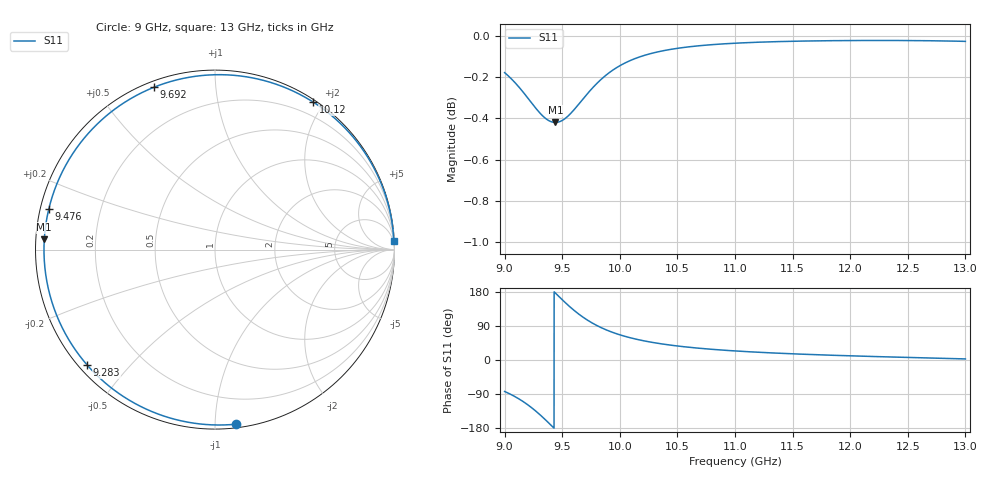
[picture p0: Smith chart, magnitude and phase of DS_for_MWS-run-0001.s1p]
! TOUCHSTONE file generated by CST DESIGN STUDIO
! Date and time: Tue Feb  4 14:09:21 2025
! Project name: C:\Work\MatlabApps\UnitCellOptimizationMatlab\CST\unitcell.cst
! Tree item: Tasks\Sweep1\SPara1\S-Parameters
! Header version: 2024
! Port assignment regex: !\s*Touchstone port\s*([0-9]+)\s*=\s*(CST MWS port|CST DES external port|CST DES block port)\s*(.+)\s* \(\"(.*)\"\)(\s*mode\s*([0-9]+))?.*
! Touchstone port assignment:
! Touchstone port 1 = CST DES external port 1 ("")
# GHz S MA R 50
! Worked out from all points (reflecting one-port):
!   4001 points, 9 GHz to 13 GHz, reference 50 ohm
!   lowest |S11| = -0.4 dB at 9.441 GHz (marker M1), VSWR 41.41, Z = 1.21 + j1.5 ohm
!   phase of S11 starts at -83 deg and turns -274 deg over the sweep
!   S11 on the Smith chart (normalised r, x): 9 GHz: 0.02, -1.13; 9.283 GHz: 0.02, -0.38; 9.476 GHz: 0.02, +0.12; 9.692 GHz: 0.03, +0.69; 10.12 GHz: 0.03, +1.87; 13 GHz: 2, +40
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9  0.9798 -83.1
9.086  0.9746 -95.9
9.157  0.9695 -108.9
9.222  0.9643 -122.9
9.283  0.9595 -138.0
9.328  0.9565 -150.2
9.367  0.9545 -161.4
9.404  0.9533 -172.3
9.441  0.9528 176.6
9.476  0.9532 166.1
9.5  0.9539 159.1
9.549  0.9562 145.2
9.596  0.9592 132.7
9.643  0.9626 121.3
9.692  0.9663 110.6
9.751  0.9706 99.3
9.817  0.9749 88.5
9.906  0.9797 76.5
10  0.9836 66.5
10.122  0.9873 56.3
10.292  0.9907 46.0
10.5  0.9932 37.0
10.723  0.9948 30.1
11  0.9961 23.9
11.5  0.9971 16.3
12  0.9975 11.0
12.5  0.9975 6.8
13  0.9971 2.8
